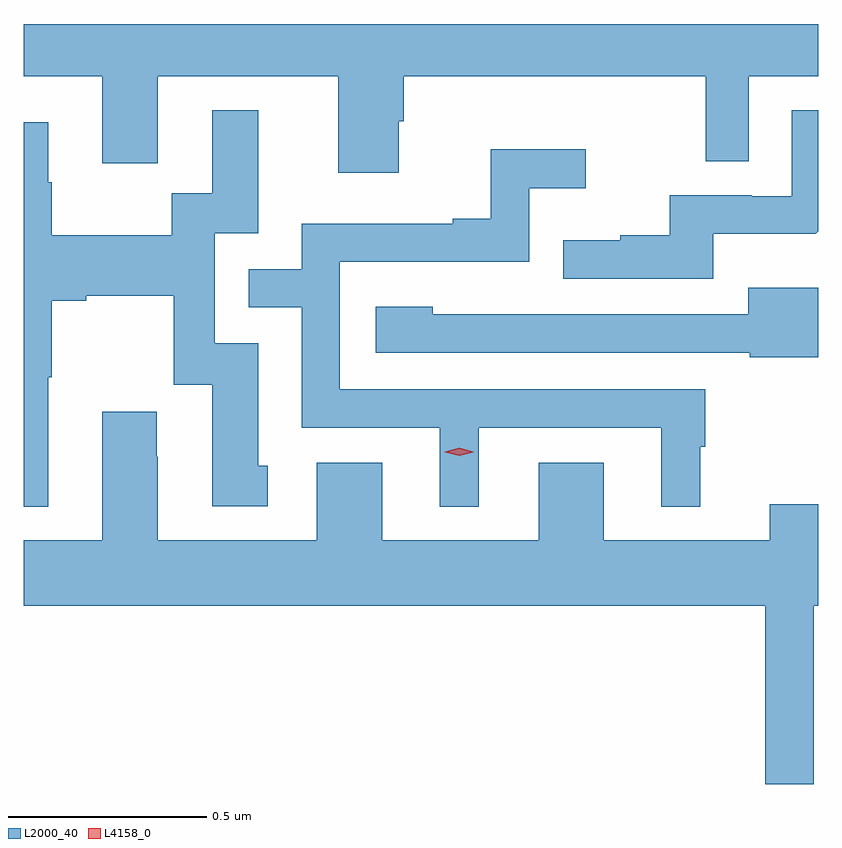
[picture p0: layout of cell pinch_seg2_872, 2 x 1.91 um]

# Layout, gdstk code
import gdstk
lib = gdstk.Library(unit=1e-6, precision=1e-09)
def P(c, l, *ps):  # polygons
    for p in ps: c.add(gdstk.Polygon(p, *l))
L2000_40 = (2000, 40)
L4158_0 = (4158, 0)

pinch_seg2_872 = lib.new_cell('pinch_seg2_872')
P(pinch_seg2_872, L2000_40, [(873.523,614.223),(873.536,614.223),(873.536,614.336),(874.296,614.336),(874.296,614.122),(874.404,614.122),(874.404,614.336),(874.579,614.336),(874.579,614.468),(872.579,614.468),(872.579,614.336),(872.777,614.336),(872.777,614.118),(872.917,614.118),(872.917,614.336),(873.371,614.336),(873.371,614.094),(873.523,614.094)],
  [(874.315,613.94),(874.573,613.94),(874.579,613.946),(874.579,614.251),(874.512,614.251),(874.512,614.034),(874.412,614.034),(874.412,614.037),(874.205,614.037),(874.205,613.936),(874.081,613.936),(874.081,613.924),(873.937,613.924),(873.937,613.827),(874.315,613.827)],
  [(872.641,613.579),(872.649,613.579),(872.649,613.772),(872.737,613.772),(872.737,613.784),(872.957,613.784),(872.957,613.56),(873.053,613.56),(873.053,613.254),(873.193,613.254),(873.193,613.356),(873.169,613.356),(873.169,613.665),(873.06,613.665),(873.06,613.941),(873.169,613.941),(873.169,614.251),(873.053,614.251),(873.053,614.042),(872.952,614.042),(872.952,613.936),(872.649,613.936),(872.649,614.07),(872.641,614.07),(872.641,614.221),(872.579,614.221),(872.579,613.253),(872.641,613.253)],
  [(873.724,613.452),(874.184,613.452),(874.184,613.253),(874.282,613.253),(874.282,613.404),(874.294,613.404),(874.294,613.548),(873.375,613.548),(873.375,613.869),(873.852,613.869),(873.852,614.054),(873.994,614.054),(873.994,614.153),(873.754,614.153),(873.754,613.978),(873.659,613.978),(873.659,613.965),(873.279,613.965),(873.279,613.851),(873.145,613.851),(873.145,613.755),(873.279,613.755),(873.279,613.452),(873.626,613.452),(873.626,613.253),(873.724,613.253)],
  [(874.579,613.804),(874.403,613.804),(874.403,613.737),(873.845,613.737),(873.845,613.738),(873.609,613.738),(873.609,613.756),(873.465,613.756),(873.465,613.641),(874.407,613.641),(874.407,613.629),(874.579,613.629)],
  [(874.567,613.004),(874.579,613.004),(874.579,613.259),(874.457,613.259),(874.457,613.168),(874.039,613.168),(874.039,613.363),(873.875,613.363),(873.875,613.168),(873.481,613.168),(873.481,613.363),(873.317,613.363),(873.317,613.168),(872.917,613.168),(872.917,613.379),(872.914,613.379),(872.914,613.492),(872.777,613.492),(872.777,613.168),(872.579,613.168),(872.579,613.004),(874.446,613.004),(874.446,612.555),(874.567,612.555)])
P(pinch_seg2_872, L4158_0, [(873.675,613.381),(873.64,613.39),(873.639,613.391),(873.64,613.391),(873.675,613.401),(873.71,613.391),(873.711,613.391),(873.71,613.39)])

lib.write_gds('pinch_seg2_872.gds')
